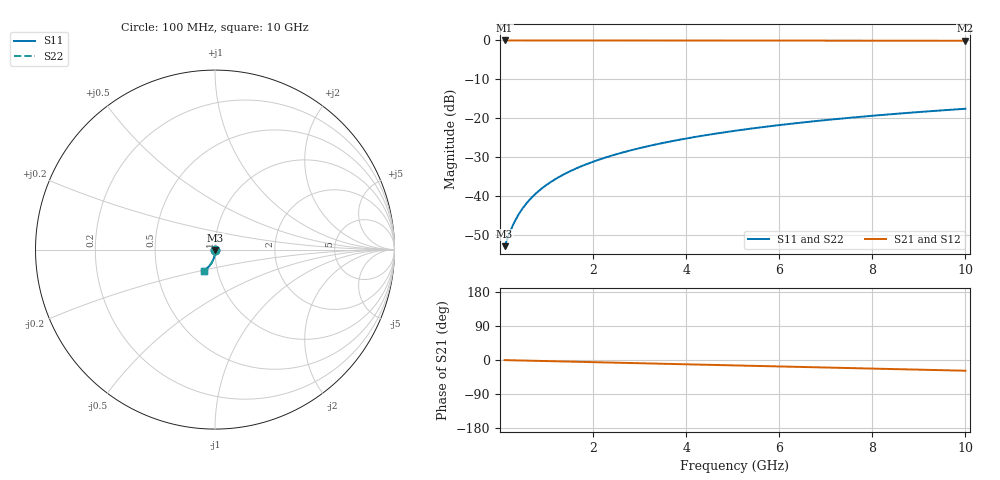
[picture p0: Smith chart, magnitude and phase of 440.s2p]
# Hz S RI R 50.00
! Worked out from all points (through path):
!   100 points, 100 MHz to 10 GHz, reference 50 ohm
!   highest |S21| = -0.02 dB at 100 MHz (marker M1); lowest = -0.1 dB at 10 GHz (marker M2)
!   group delay of S21, straight-line fit = 7.86 ps
!   lowest |S11| = -52.9 dB at 100 MHz (marker M3), VSWR 1.00, Z = 50.2 - j0.139 ohm
!   |S11| at or under -10 dB: start of sweep to end of sweep
!   |S22| runs from -52.9 to -17.6 dB; largest |S21 - S12| = 0
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1e8  0.0018 -0.00139  0.9982 -0.00494  0.9982 -0.00494  0.0018 -0.00139
2e8  0.00178 -0.00277  0.9981 -0.00988  0.9981 -0.00988  0.00178 -0.00277
3e8  0.00176 -0.00416  0.998 -0.0148  0.998 -0.0148  0.00176 -0.00416
4e8  0.00171 -0.00555  0.9979 -0.0197  0.9979 -0.0197  0.00171 -0.00555
5e8  0.00165 -0.00693  0.9978 -0.0247  0.9978 -0.0247  0.00165 -0.00693
6e8  0.00158 -0.00832  0.9977 -0.0296  0.9977 -0.0296  0.00158 -0.00832
7e8  0.0015 -0.0097  0.9975 -0.0346  0.9975 -0.0346  0.0015 -0.0097
9e8  0.00128 -0.0125  0.997 -0.0444  0.997 -0.0444  0.00128 -0.0125
1e9  0.00115 -0.0138  0.9968 -0.0494  0.9968 -0.0494  0.00115 -0.0138
1.2e9  0.000852 -0.0166  0.9962 -0.0592  0.9962 -0.0592  0.000852 -0.0166
1.5e9  0.0003 -0.0207  0.9951 -0.074  0.9951 -0.074  0.0003 -0.0207
1.8e9  -0.000374 -0.0248  0.9938 -0.0887  0.9938 -0.0887  -0.000374 -0.0248
2.1e9  -0.00117 -0.0289  0.9922 -0.1035  0.9922 -0.1035  -0.00117 -0.0289
2.5e9  -0.00242 -0.0343  0.9898 -0.123  0.9898 -0.123  -0.00242 -0.0343
2.9e9  -0.00388 -0.0397  0.9869 -0.1426  0.9869 -0.1426  -0.00388 -0.0397
3.4e9  -0.00601 -0.0463  0.9828 -0.1669  0.9828 -0.1669  -0.00601 -0.0463
4.2e9  -0.0101 -0.0566  0.9748 -0.2055  0.9748 -0.2055  -0.0101 -0.0566
5.1e9  -0.0156 -0.0678  0.9639 -0.2484  0.9639 -0.2484  -0.0156 -0.0678
5.9e9  -0.0213 -0.0773  0.9525 -0.2861  0.9525 -0.2861  -0.0213 -0.0773
6.7e9  -0.0278 -0.0864  0.9396 -0.3231  0.9396 -0.3231  -0.0278 -0.0864
8.4e9  -0.0437 -0.1037  0.9071 -0.3997  0.9071 -0.3997  -0.0437 -0.1037
1e10  -0.0611 -0.1173  0.8707 -0.4685  0.8707 -0.4685  -0.0611 -0.1173
